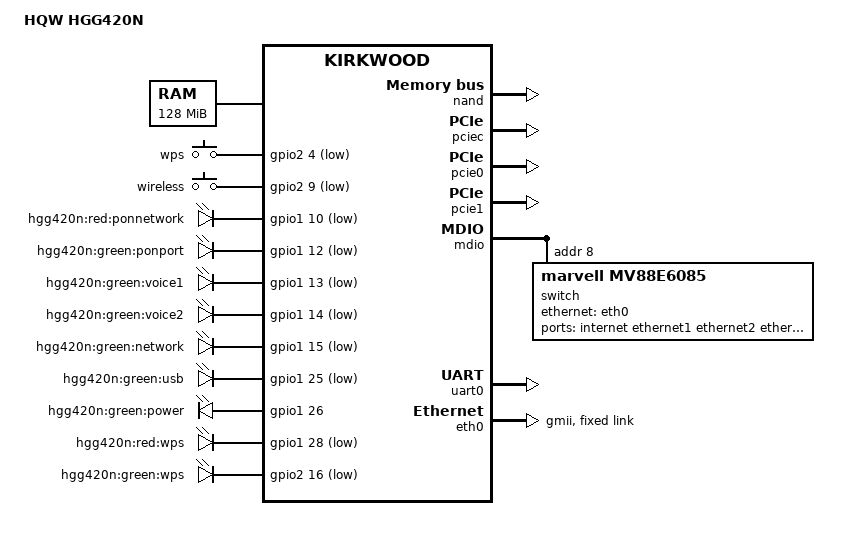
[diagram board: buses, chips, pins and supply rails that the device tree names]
/*
 * Device Tree file for hqw hgg420n
 * 
 *   (c) 2021 winnt5 <jiconglu58@gmail.com>
 *
 * based on
 *
 * Copyright (c) 2021 bodhi <mibodhi@gmail.com>
 *
 * based on 
 *  (c) 2015 Claudio Leite <leitec@staticky.com>
 *
 * based on kirkwood-ea4500.dts,
 *   (c) 2013 Jonas Gorski <jogo@openwrt.org>
 *   (c) 2013 Deutsche Telekom Innovation Laboratories
 *   (c) 2014 Luka Perkov <luka@openwrt.org>
 *
 * This file is licensed under the terms of the GNU General Public
 * License version 2.  This program is licensed "as is" without any
 * warranty of any kind, whether express or implied.
 */

/dts-v1/;

#include "avanta.dtsi"
#include "avanta-6560.dtsi"

/ {
	model = "HQW HGG420N";
	compatible = "hqw,hgg420n", "marvell,kirkwood-88f6282", "marvell,kirkwood";

	memory {
		device_type = "memory";
		reg = <0x00000000 0x8000000>;
	};

	aliases {
		serial0 = &uart0;
	};

	chosen {
		stdout-path = "serial0:115200n8";
	};

	gpio_keys {
		compatible = "gpio-keys";

		button@4 {
			label = "wps";
			linux,code = <KEY_WPS_BUTTON>;
			gpios = <&gpio2 4 GPIO_ACTIVE_LOW>;
		};

		button@9 {
			label = "wireless";
			linux,code = <KEY_RFKILL>;
			gpios = <&gpio2 9 GPIO_ACTIVE_LOW>;
		};
	};

	gpio-leds {
		compatible = "gpio-leds";

		green-ponnetwork {
			label = "hgg420n:red:ponnetwork";
			gpios = <&gpio1 10 GPIO_ACTIVE_LOW>;
		};

		green-ponport {
			label = "hgg420n:green:ponport";
			gpios = <&gpio1 12 GPIO_ACTIVE_LOW>;
		};

		green-voice1 {
			label = "hgg420n:green:voice1";
			gpios = <&gpio1 13 GPIO_ACTIVE_LOW>;
		};

		green-voice2 {
			label = "hgg420n:green:voice2";
			gpios = <&gpio1 14 GPIO_ACTIVE_LOW>;
		};

		green-network {
			label = "hgg420n:green:network";
			gpios = <&gpio1 15 GPIO_ACTIVE_LOW>;
		};

		green-usb {
			label = "hgg420n:green:usb";
			gpios = <&gpio1 25 GPIO_ACTIVE_LOW>;
		};

		green-power {
			label = "hgg420n:green:power";
			gpios = <&gpio1 26 GPIO_ACTIVE_HIGH>;
		};

		red-wps {
			label = "hgg420n:red:wps";
			gpios = <&gpio1 28 GPIO_ACTIVE_LOW>;
		};

		green-wps {
			label = "hgg420n:green:wps";
			gpios = <&gpio2 16 GPIO_ACTIVE_LOW>;
		};
	};
};

&nand {
	status = "okay";

	partitions {
		compatible = "fixed-partitions";
		#address-cells = <1>;
		#size-cells = <1>;

		partition@0 {
			label = "u-boot";
			reg = <0x0 0xc0000>;
			read-only;
		};

		partition@c0000 {
			label = "uboot_env";
			reg = <0xc0000 0x40000>;
		};

		partition@100000 {
			label = "kernel";
			reg = <0x100000 0x300000>;
		};

		partition@400000 {
			label = "ubi";
			reg = <0x400000 0x3c00000>;
		};
	};
};

&pciec {
	status = "okay";
};

&pcie0 {
	status = "okay";
};

&pcie1 {
	status = "okay";
};

&mdio {
	status = "okay";

	switch@8 {
		compatible = "marvell,mv88e6085";
		#address-cells = <1>;
		#size-cells = <0>;
		reg = <8>;

		ports {
			#address-cells = <1>;
			#size-cells = <0>;

			port@0 {
				reg = <0>;
				label = "internet";
			};

			port@1 {
				reg = <1>;
				label = "ethernet1";
			};

			port@2 {
				reg = <2>;
				label = "ethernet2";
			};

			port@3 {
				reg = <3>;
				label = "ethernet3";
			};

			port@4 {
				reg = <4>;
				phy-mode = "gmii";
				ethernet = <&eth0>;
				fixed-link {
					speed = <1000>;
					full-duplex;
				};
			};
		};
	};
};

&uart0 {
	status = "okay";
};

/* eth0 is connected to a Marvell 88F6560 internal switch, without a PHY. So set
 * fixed speed and duplex.
 */
&eth0 {
	status = "okay";
	phy-mode = "gmii";
	fixed-link {
		speed = <1000>;
		full-duplex;
	};
};

&eth1 {
	status = "disabled";
};

/* There is no battery on the board, so the RTC does not keep
 * time when there is no power, making it useless.
 */
&rtc {
	status = "disabled";
};
